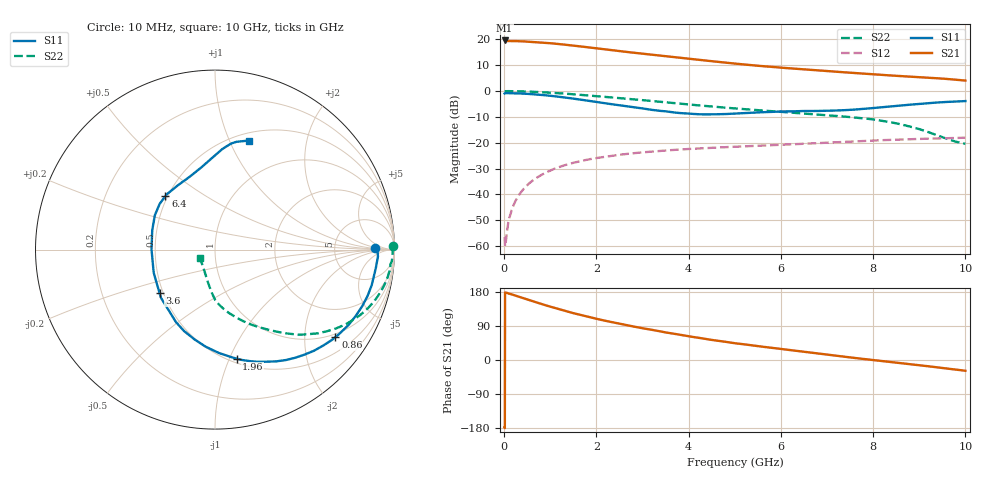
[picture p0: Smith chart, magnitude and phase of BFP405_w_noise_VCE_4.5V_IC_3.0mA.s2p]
! Infineon Technologies  Discrete & RF Semiconductors
! BFP405
! VCE =  4.5 V,  IC =  3.0 mA
! Common Emitter S-Parameters:  Jan 2016
# GHz  S  MA  R  50
!  f  S11  S21  S12  S22
! GHz  MAG  ANG  MAG  ANG  MAG  ANG  MAG  ANG
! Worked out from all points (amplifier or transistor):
!   233 points, 10 MHz to 10 GHz, reference 50 ohm
!   highest |S21| = 19.5 dB at 10 MHz (marker M1)
!   |S21| within 3 dB of that: start of sweep to 1.978 GHz
!   unconditionally stable (mu >= 1): start of sweep to 18.66 MHz; 4.009 GHz to end of sweep
!   at 200 MHz: K = 0.20, MSG = 31.8 dB, |S12| = -44.3 dB
!   at 1.74 GHz: K = 0.41, MSG = 21.9 dB, |S12| = -26.8 dB
!   at 10 GHz: K = 1.55, MAG = 6.7 dB, |S12| = -18.1 dB
!   lowest NFmin = 0.98 dB at 900 MHz
!   S11 on the Smith chart (normalised r, x): 10 MHz: 17, +2; 860 MHz: 0.90, -2.82; 1.96 GHz: 0.54, -1.06; 3.6 GHz: 0.48, -0.27; 6.4 GHz: 0.49, +0.35; 10 GHz: 0.58, +1.18
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0.01  0.8903 0.7  9.44 -177.9  0.0015 1.5  0.9919 1.0
0.02  0.9059 -0.6  9.284 178.2  0.001 39.9  0.9856 0.1
0.05  0.9088 -2.4  9.205 177.7  0.0015 57.2  0.9894 -0.6
0.11  0.9041 -4.7  9.217 174.9  0.0035 72.9  0.9896 -2.1
0.26  0.8957 -11.0  9.174 169.2  0.0079 78.0  0.9803 -5.2
0.5  0.8788 -21.0  8.993 159.9  0.0151 76.3  0.9716 -9.8
0.86  0.8294 -36.0  8.564 145.9  0.0252 70.3  0.9403 -16.5
1.1  0.7885 -45.6  8.208 137.1  0.0316 66.0  0.9138 -20.8
1.28  0.7534 -52.7  7.889 130.9  0.0359 62.9  0.8906 -23.9
1.68  0.6737 -68.1  7.194 118.0  0.0445 56.4  0.8366 -29.9
1.96  0.6194 -78.8  6.712 109.8  0.0497 52.3  0.7984 -33.7
2.62  0.5099 -103.6  5.71 92.7  0.0601 44.1  0.7114 -41.4
3  0.4592 -118.2  5.231 83.8  0.065 40.0  0.6635 -45.6
3.4  0.4102 -133.9  4.776 75.2  0.0695 35.9  0.6137 -49.5
3.6  0.3918 -142.1  4.571 70.9  0.0716 34.1  0.5904 -51.5
4  0.3652 -159.2  4.185 62.4  0.0755 30.7  0.5466 -55.4
4.4  0.3522 -175.9  3.831 55.0  0.0788 27.5  0.5083 -59.2
5.1  0.3686 160.2  3.309 42.9  0.0841 22.9  0.4518 -65.7
6.4  0.4062 132.9  2.652 23.2  0.0944 16.2  0.3726 -75.9
6.8  0.4098 124.5  2.495 17.2  0.0982 14.0  0.3503 -79.2
8.4  0.5042 92.8  1.983 -5.6  0.1134 3.7  0.2462 -93.6
10  0.6361 72.8  1.585 -28.4  0.1246 -6.4  0.0955 -151.7
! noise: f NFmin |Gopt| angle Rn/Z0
0.9  0.98  0.49  14  0.37
1.8  1.3  0.39  24  0.34
2.4  1.48  0.33  33  0.33
3  1.51  0.31  50  0.31
4  1.71  0.19  75  0.25
5  2.06  0.14  114  0.21
